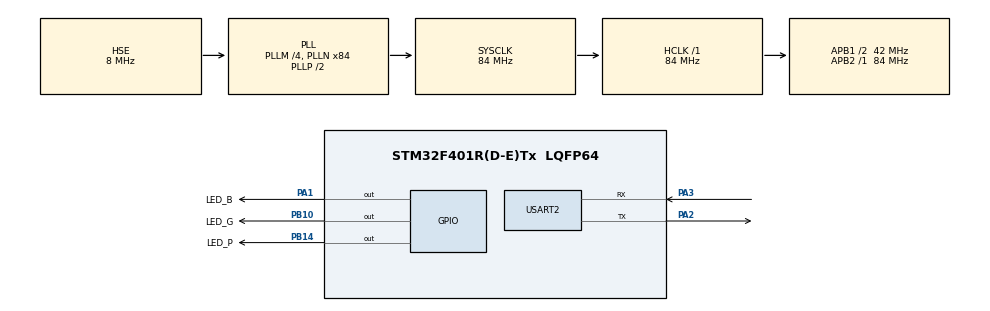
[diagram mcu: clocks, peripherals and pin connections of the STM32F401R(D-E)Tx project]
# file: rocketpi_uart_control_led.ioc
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Mcu.Family=STM32F4
Mcu.Name=STM32F401R(D-E)Tx
Mcu.Package=LQFP64
NVIC.PriorityGroup=NVIC_PRIORITYGROUP_4
PA1.GPIO_Label=LED_B
PA1.PinState=GPIO_PIN_SET
PA1.Signal=GPIO_Output
PA13.Mode=Serial_Wire
PA13.Signal=SYS_JTMS-SWDIO
PA14.Mode=Serial_Wire
PA14.Signal=SYS_JTCK-SWCLK
PA2.Mode=Asynchronous
PA2.Signal=USART2_TX
PA3.Mode=Asynchronous
PA3.Signal=USART2_RX
PB10.GPIO_Label=LED_G
PB10.PinState=GPIO_PIN_SET
PB10.Signal=GPIO_Output
PB14.GPIO_Label=LED_P
PB14.PinState=GPIO_PIN_SET
PB14.Signal=GPIO_Output
PH0\ -\ OSC_IN.Mode=HSE-External-Oscillator
PH0\ -\ OSC_IN.Signal=RCC_OSC_IN
PH1\ -\ OSC_OUT.Mode=HSE-External-Oscillator
PH1\ -\ OSC_OUT.Signal=RCC_OSC_OUT
ProjectManager.HeapSize=0x200
ProjectManager.StackSize=0x400
ProjectManager.TargetToolchain=MDK-ARM V5.27
RCC.48MHZClocksFreq_Value=42000000
RCC.AHBFreq_Value=84000000
RCC.APB1CLKDivider=RCC_HCLK_DIV2
RCC.APB1Freq_Value=42000000
RCC.APB1TimFreq_Value=84000000
RCC.APB2Freq_Value=84000000
RCC.APB2TimFreq_Value=84000000
RCC.CortexFreq_Value=84000000
RCC.HCLKFreq_Value=84000000
RCC.HSE_VALUE=8000000
RCC.HSI_VALUE=16000000
RCC.LSE_VALUE=32768
RCC.PLLM=4
RCC.PLLN=84
RCC.PLLSourceVirtual=RCC_PLLSOURCE_HSE
RCC.SYSCLKFreq_VALUE=84000000
RCC.SYSCLKSource=RCC_SYSCLKSOURCE_PLLCLK
RCC.VCOOutputFreq_Value=168000000
USART2.VirtualMode=VM_ASYNC
board=custom

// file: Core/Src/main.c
/* USER CODE BEGIN Header */
/**
  ******************************************************************************
  * @file           : main.c
  * @brief          : Main program body
  ******************************************************************************
  * @attention
  *
  * Copyright (c) 2025 STMicroelectronics.
  * All rights reserved.
  *
  * This software is licensed under terms that can be found in the LICENSE file
  * in the root directory of this software component.
  * If no LICENSE file comes with this software, it is provided AS-IS.
  *
  ******************************************************************************
  */
/* USER CODE END Header */
#include "main.h"
#include "usart.h"
#include "gpio.h"

/* USER CODE BEGIN Includes */
#include <string.h>
#include <stdbool.h>
#include <ctype.h>
#include <stdio.h>
/* USER CODE END Includes */

/* USER CODE BEGIN PD */
#define UART_RX_BUFFER_SIZE 128U
#define LED_NAME_MAX_LEN    16U
#define LED_TOKEN_COUNT     3U

#define LED_ACTIVE_LOW      1

#if (LED_ACTIVE_LOW == 1)
#define LED_ON_STATE        GPIO_PIN_RESET
#define LED_OFF_STATE       GPIO_PIN_SET
#else
#define LED_ON_STATE        GPIO_PIN_SET
#define LED_OFF_STATE       GPIO_PIN_RESET
#endif
/* USER CODE END PD */

/* USER CODE BEGIN PV */
typedef struct
{
  GPIO_TypeDef *port;
  uint16_t pin;
  const char *tokens[LED_TOKEN_COUNT];
} LedConfig_t;

static const LedConfig_t g_led_config[] =
{
  {LED_B_GPIO_Port, LED_B_Pin, {"B", "BLUE", "LED_B"}},
  {LED_G_GPIO_Port, LED_G_Pin, {"G", "GREEN", "LED_G"}},
  {LED_P_GPIO_Port, LED_P_Pin, {"P", "PINK", "LED_P"}}
};

enum { LED_TOTAL = sizeof(g_led_config) / sizeof(g_led_config[0]) };

typedef struct
{
  uint8_t led_index[LED_TOTAL];
  bool states[LED_TOTAL];
  size_t led_count;
  size_t state_count;
} LedCommand_t;

static char g_rx_buffer[UART_RX_BUFFER_SIZE];
static size_t g_rx_length = 0U;
/* USER CODE END PV */

void SystemClock_Config(void);
/* USER CODE BEGIN PFP */
static void console_send_string(const char *msg);
static void console_send_prompt(void);
static void console_print_examples(void);
static void console_print_gpio_map(void);
static const char *console_skip_spaces(const char *ptr);
static const char *console_find_json_value(const char *json, const char *key);
static bool console_parse_led_targets(const char *json, LedCommand_t *cmd);
static bool console_parse_state_values(const char *json, LedCommand_t *cmd);
static bool console_parse_led_token(const char **cursor, LedCommand_t *cmd);
static bool console_parse_state_token(const char **cursor, LedCommand_t *cmd);
static bool console_add_led_index(LedCommand_t *cmd, uint8_t index);
static uint32_t console_pin_index(uint16_t pin);
static const char *console_port_name(GPIO_TypeDef *port);
static bool console_str_case_equal(const char *lhs, const char *rhs);
static int8_t console_find_led_by_token(const char *token);
static void console_set_led_state(uint8_t index, bool enabled);
static void console_apply_command(const LedCommand_t *cmd);
static void console_report_result(const LedCommand_t *cmd);
static void console_report_error(const char *message);
static void console_handle_input_byte(uint8_t data);
static void console_process_command_buffer(void);
/* USER CODE END PFP */

/* USER CODE BEGIN 0 */
/* 阻塞方式发送字符串到调试串口 */
static void console_send_string(const char *msg)
{
  if (msg == NULL)
  {
    return;
  }
  HAL_UART_Transmit(&huart2, (uint8_t *)msg, strlen(msg), HAL_MAX_DELAY);
}

/* 输出下一条命令的提示符 */
static void console_send_prompt(void)
{
  console_send_string("\r\n> ");
}

/* 打印串口示例命令 */
static void console_print_examples(void)
{
  console_send_string("RocketPi UART LED console ready.\r\n");
  console_send_string("Example commands:\r\n");
  console_send_string("  {\"led\":\"B\",\"state\":1}\r\n");
  console_send_string("  {\"led\":[\"B\",\"G\"],\"state\":[1,0]}\r\n");
}

/* 返回 GPIO 端口的可读名称 */
static const char *console_port_name(GPIO_TypeDef *port)
{
  if (port == GPIOA) return "GPIOA";
  if (port == GPIOB) return "GPIOB";
  if (port == GPIOC) return "GPIOC";
  if (port == GPIOD) return "GPIOD";
  if (port == GPIOE) return "GPIOE";
  if (port == GPIOH) return "GPIOH";
  return "UNKNOWN";
}

/* 将位图形式的引脚值转换成编号 */
static uint32_t console_pin_index(uint16_t pin)
{
  for (uint32_t i = 0U; i < 16U; ++i)
  {
    if (pin == (uint16_t)(1U << i))
    {
      return i;
    }
  }
  return 0xFFFFFFFFU;
}

/* 上电时输出 LED 与 GPIO 的映射信息 */
static void console_print_gpio_map(void)
{
  console_send_string("{\"led_config\":[");
  for (size_t i = 0U; i < LED_TOTAL; ++i)
  {
    char buffer[96];
    const uint32_t pin_index = console_pin_index(g_led_config[i].pin);
    const char *delimiter = (i + 1U < LED_TOTAL) ? "," : "";
    (void)snprintf(buffer, sizeof(buffer),
                   "{\"name\":\"%s\",\"port\":\"%s\",\"pin\":%lu}%s",
                   g_led_config[i].tokens[0],
                   console_port_name(g_led_config[i].port),
                   (unsigned long)((pin_index <= 15U) ? pin_index : g_led_config[i].pin),
                   delimiter);
    console_send_string(buffer);
  }
  console_send_string("]}\r\n");
}

/* 跳过当前字符串指针中的所有空白字符 */
static const char *console_skip_spaces(const char *ptr)
{
  while ((ptr != NULL) && (*ptr != '\0') && isspace((unsigned char)*ptr))
  {
    ++ptr;
  }
  return ptr;
}

/* 在伪 JSON 字符串中定位指定键的值 */
static const char *console_find_json_value(const char *json, const char *key)
{
  if ((json == NULL) || (key == NULL))
  {
    return NULL;
  }
  const char *location = strstr(json, key);
  if (location == NULL)
  {
    return NULL;
  }
  location += strlen(key);
  location = console_skip_spaces(location);
  if (*location != ':')
  {
    return NULL;
  }
  ++location;
  return console_skip_spaces(location);
}

/* 不区分大小写比较两个字符串 */
static bool console_str_case_equal(const char *lhs, const char *rhs)
{
  if ((lhs == NULL) || (rhs == NULL))
  {
    return false;
  }
  while ((*lhs != '\0') && (*rhs != '\0'))
  {
    const int ca = toupper((unsigned char)*lhs);
    const int cb = toupper((unsigned char)*rhs);
    if (ca != cb)
    {
      return false;
    }
    ++lhs;
    ++rhs;
  }
  return (*lhs == '\0') && (*rhs == '\0');
}

/* 根据别名查找 LED 在配置表中的索引 */
static int8_t console_find_led_by_token(const char *token)
{
  if (token == NULL)
  {
    return -1;
  }

  for (size_t i = 0U; i < LED_TOTAL; ++i)
  {
    for (size_t alias = 0U; alias < LED_TOKEN_COUNT; ++alias)
    {
      const char *candidate = g_led_config[i].tokens[alias];
      if ((candidate != NULL) && console_str_case_equal(token, candidate))
      {
        return (int8_t)i;
      }
    }
  }

  return -1;
}

/* 向解析结果中追加一个 LED 索引（避免重复） */
static bool console_add_led_index(LedCommand_t *cmd, uint8_t index)
{
  if (cmd == NULL)
  {
    return false;
  }

  for (size_t i = 0U; i < cmd->led_count; ++i)
  {
    if (cmd->led_index[i] == index)
    {
      return true;
    }
  }

  if (cmd->led_count >= LED_TOTAL)
  {
    return false;
  }

  cmd->led_index[cmd->led_count++] = index;
  return true;
}

/* 解析单个字符串 token 并写入 LED 列表 */
static bool console_parse_led_token(const char **cursor, LedCommand_t *cmd)
{
  if ((cursor == NULL) || (*cursor == NULL) || (cmd == NULL))
  {
    return false;
  }

  const char *ptr = *cursor;
  if (*ptr != '"')
  {
    return false;
  }
  ++ptr;

  const char *start = ptr;
  while ((*ptr != '\0') && (*ptr != '"'))
  {
    ++ptr;
  }
  if (*ptr != '"')
  {
    return false;
  }

  const size_t length = (size_t)(ptr - start);
  if ((length == 0U) || (length >= LED_NAME_MAX_LEN))
  {
    return false;
  }

  char token[LED_NAME_MAX_LEN] = {0};
  memcpy(token, start, length);
  token[length] = '\0';
  ++ptr;

  if (console_str_case_equal(token, "ALL"))
  {
    for (size_t i = 0U; i < LED_TOTAL; ++i)
    {
      if (!console_add_led_index(cmd, (uint8_t)i))
      {
        return false;
      }
    }
    *cursor = ptr;
    return true;
  }

  const int8_t led_index = console_find_led_by_token(token);
  if (led_index < 0)
  {
    return false;
  }

  if (!console_add_led_index(cmd, (uint8_t)led_index))
  {
    return false;
  }

  *cursor = ptr;
  return true;
}

/* 解析 led 字段（支持字符串或数组） */
static bool console_parse_led_targets(const char *json, LedCommand_t *cmd)
{
  if ((json == NULL) || (cmd == NULL))
  {
    return false;
  }

  const char *value = console_find_json_value(json, "\"led\"");
  if (value == NULL)
  {
    value = console_find_json_value(json, "\"LED\"");
  }
  if (value == NULL)
  {
    return false;
  }

  if (*value == '[')
  {
    ++value;
    while (true)
    {
      value = console_skip_spaces(value);
      if (*value == ']')
      {
        ++value;
        break;
      }
      if (!console_parse_led_token(&value, cmd))
      {
        return false;
      }
      value = console_skip_spaces(value);
      if (*value == ',')
      {
        ++value;
        continue;
      }
      if (*value == ']')
      {
        ++value;
        break;
      }
      return false;
    }
  }
  else if (*value == '"')
  {
    if (!console_parse_led_token(&value, cmd))
    {
      return false;
    }
  }
  else
  {
    return false;
  }

  return (cmd->led_count > 0U);
}

/* 解析 state 的单个值，支持数字与文本 */
static bool console_parse_state_token(const char **cursor, LedCommand_t *cmd)
{
  if ((cursor == NULL) || (*cursor == NULL) || (cmd == NULL))
  {
    return false;
  }

  const char *ptr = *cursor;
  bool value = false;
  bool parsed = false;

  if (*ptr == '"')
  {
    ++ptr;
    const char *start = ptr;
    while ((*ptr != '\0') && (*ptr != '"'))
    {
      ++ptr;
    }
    if (*ptr != '"')
    {
      return false;
    }
    const size_t length = (size_t)(ptr - start);
    if ((length == 0U) || (length >= LED_NAME_MAX_LEN))
    {
      return false;
    }
    char token[LED_NAME_MAX_LEN] = {0};
    memcpy(token, start, length);
    token[length] = '\0';
    ++ptr;

    if (console_str_case_equal(token, "on") || console_str_case_equal(token, "true") ||
        console_str_case_equal(token, "enable"))
    {
      value = true;
      parsed = true;
    }
    else if (console_str_case_equal(token, "off") || console_str_case_equal(token, "false") ||
             console_str_case_equal(token, "disable"))
    {
      value = false;
      parsed = true;
    }
  }
  else if (isalpha((unsigned char)*ptr))
  {
    const char *start = ptr;
    while (isalpha((unsigned char)*ptr))
    {
      ++ptr;
    }
    const size_t length = (size_t)(ptr - start);
    if ((length == 0U) || (length >= LED_NAME_MAX_LEN))
    {
      return false;
    }
    char token[LED_NAME_MAX_LEN] = {0};
    memcpy(token, start, length);
    token[length] = '\0';
    if (console_str_case_equal(token, "on") || console_str_case_equal(token, "true"))
    {
      value = true;
      parsed = true;
    }
    else if (console_str_case_equal(token, "off") || console_str_case_equal(token, "false"))
    {
      value = false;
      parsed = true;
    }
  }
  else
  {
    bool negative = false;
    if (*ptr == '-')
    {
      negative = true;
      ++ptr;
    }
    if (!isdigit((unsigned char)*ptr))
    {
      return false;
    }
    uint32_t number = 0U;
    while (isdigit((unsigned char)*ptr))
    {
      number = (number * 10U) + (uint32_t)(*ptr - '0');
      ++ptr;
    }
    value = (!negative) && (number != 0U);
    parsed = true;
  }

  if (!parsed)
  {
    return false;
  }

  if (cmd->state_count >= LED_TOTAL)
  {
    return false;
  }

  cmd->states[cmd->state_count++] = value;
  *cursor = ptr;
  return true;
}

/* 解析 state 字段（单值或数组） */
static bool console_parse_state_values(const char *json, LedCommand_t *cmd)
{
  if ((json == NULL) || (cmd == NULL))
  {
    return false;
  }

  const char *value = console_find_json_value(json, "\"state\"");
  if (value == NULL)
  {
    value = console_find_json_value(json, "\"STATE\"");
  }
  if (value == NULL)
  {
    return false;
  }

  if (*value == '[')
  {
    ++value;
    while (true)
    {
      value = console_skip_spaces(value);
      if (*value == ']')
      {
        ++value;
        break;
      }
      if (!console_parse_state_token(&value, cmd))
      {
        return false;
      }
      value = console_skip_spaces(value);
      if (*value == ',')
      {
        ++value;
        continue;
      }
      if (*value == ']')
      {
        ++value;
        break;
      }
      return false;
    }
  }
  else
  {
    if (!console_parse_state_token(&value, cmd))
    {
      return false;
    }
  }

  return (cmd->state_count > 0U);
}

/* 操作具体 LED 引脚输出状态 */
static void console_set_led_state(uint8_t index, bool enabled)
{
  if (index >= LED_TOTAL)
  {
    return;
  }
  HAL_GPIO_WritePin(g_led_config[index].port,
                    g_led_config[index].pin,
                    enabled ? LED_ON_STATE : LED_OFF_STATE);
}

/* 根据解析结果批量设置 LED */
static void console_apply_command(const LedCommand_t *cmd)
{
  if (cmd == NULL)
  {
    return;
  }

  for (size_t i = 0U; i < cmd->led_count; ++i)
  {
    const size_t state_index = (cmd->state_count == 1U) ? 0U : i;
    const bool desired = cmd->states[state_index];
    console_set_led_state(cmd->led_index[i], desired);
  }
}

/* 输出成功执行后的状态 JSON */
static void console_report_result(const LedCommand_t *cmd)
{
  if (cmd == NULL)
  {
    return;
  }

  char buffer[192];
  int length = snprintf(buffer, sizeof(buffer), "{\"status\":\"ok\",\"led\":[");
  for (size_t i = 0U; i < cmd->led_count; ++i)
  {
    const char *delimiter = (i + 1U < cmd->led_count) ? "," : "";
    length += snprintf(&buffer[length], (size_t)(sizeof(buffer) - (size_t)length),
                       "\"%s\"%s",
                       g_led_config[cmd->led_index[i]].tokens[0],
                       delimiter);
  }
  length += snprintf(&buffer[length], (size_t)(sizeof(buffer) - (size_t)length),
                     "],\"state\":[");
  for (size_t i = 0U; i < cmd->led_count; ++i)
  {
    const size_t state_index = (cmd->state_count == 1U) ? 0U : i;
    const char *delimiter = (i + 1U < cmd->led_count) ? "," : "";
    length += snprintf(&buffer[length], (size_t)(sizeof(buffer) - (size_t)length),
                       "%u%s",
                       cmd->states[state_index] ? 1U : 0U,
                       delimiter);
  }
  (void)snprintf(&buffer[length], (size_t)(sizeof(buffer) - (size_t)length), "]}\r\n");
  console_send_string(buffer);
}

/* 输出错误 JSON 信息 */
static void console_report_error(const char *message)
{
  char buffer[160];
  (void)snprintf(buffer, sizeof(buffer),
                 "{\"status\":\"error\",\"msg\":\"%s\"}\r\n",
                 (message != NULL) ? message : "unknown");
  console_send_string(buffer);
}

/* 处理完整命令字符串并执行 */
static void console_process_command_buffer(void)
{
  g_rx_buffer[g_rx_length] = '\0';
  if (g_rx_length == 0U)
  {
    return;
  }

  LedCommand_t command = {0};
  if (!console_parse_led_targets(g_rx_buffer, &command))
  {
    console_report_error("missing led field");
    return;
  }
  if (!console_parse_state_values(g_rx_buffer, &command))
  {
    console_report_error("missing state field");
    return;
  }
  if (!((command.state_count == 1U) || (command.state_count == command.led_count)))
  {
    console_report_error("state count mismatch");
    return;
  }

  console_apply_command(&command);
  console_report_result(&command);
}

/* 串口逐字节处理函数，负责拼接命令 */
static void console_handle_input_byte(uint8_t data)
{
  if (data == '\r')
  {
    return;
  }
  if (data == '\n')
  {
    console_process_command_buffer();
    g_rx_length = 0U;
    console_send_prompt();
    return;
  }

  if (g_rx_length >= (UART_RX_BUFFER_SIZE - 1U))
  {
    g_rx_length = 0U;
    console_report_error("command too long");
    console_send_prompt();
    return;
  }

  g_rx_buffer[g_rx_length++] = (char)data;
}
/* USER CODE END 0 */

/* 主程序入口：初始化外设并处理串口命令 */
int main(void)
{

  /* MCU Configuration--------------------------------------------------------*/

  /* Reset of all peripherals, Initializes the Flash interface and the Systick. */
  HAL_Init();

  /* Configure the system clock */
  SystemClock_Config();

  /* Initialize all configured peripherals */
  MX_GPIO_Init();
  MX_USART2_UART_Init();
  /* USER CODE BEGIN 2 */
  console_print_examples();
  console_print_gpio_map();
  console_send_prompt();
  /* USER CODE END 2 */

  /* Infinite loop */
  /* USER CODE BEGIN WHILE */
  while (1)
  {
    uint8_t byte = 0U;
    if (HAL_UART_Receive(&huart2, &byte, 1U, HAL_MAX_DELAY) == HAL_OK)
    {
      console_handle_input_byte(byte);
    }
    /* USER CODE END WHILE */

  }
}

/* 配置芯片的时钟树参数 */
void SystemClock_Config(void)
{
  RCC_OscInitTypeDef RCC_OscInitStruct = {0};
  RCC_ClkInitTypeDef RCC_ClkInitStruct = {0};

  /** Configure the main internal regulator output voltage
  */
  __HAL_RCC_PWR_CLK_ENABLE();
  __HAL_PWR_VOLTAGESCALING_CONFIG(PWR_REGULATOR_VOLTAGE_SCALE2);

  /** Initializes the RCC Oscillators according to the specified parameters
  * in the RCC_OscInitTypeDef structure.
  */
  RCC_OscInitStruct.OscillatorType = RCC_OSCILLATORTYPE_HSE;
  RCC_OscInitStruct.HSEState = RCC_HSE_ON;
  RCC_OscInitStruct.PLL.PLLState = RCC_PLL_ON;
  RCC_OscInitStruct.PLL.PLLSource = RCC_PLLSOURCE_HSE;
  RCC_OscInitStruct.PLL.PLLM = 4;
  RCC_OscInitStruct.PLL.PLLN = 84;
  RCC_OscInitStruct.PLL.PLLP = RCC_PLLP_DIV2;
  RCC_OscInitStruct.PLL.PLLQ = 4;
  if (HAL_RCC_OscConfig(&RCC_OscInitStruct) != HAL_OK)
  {
    Error_Handler();
  }

  /** Initializes the CPU, AHB and APB buses clocks
  */
  RCC_ClkInitStruct.ClockType = RCC_CLOCKTYPE_HCLK|RCC_CLOCKTYPE_SYSCLK
                              |RCC_CLOCKTYPE_PCLK1|RCC_CLOCKTYPE_PCLK2;
  RCC_ClkInitStruct.SYSCLKSource = RCC_SYSCLKSOURCE_PLLCLK;
  RCC_ClkInitStruct.AHBCLKDivider = RCC_SYSCLK_DIV1;
  RCC_ClkInitStruct.APB1CLKDivider = RCC_HCLK_DIV2;
  RCC_ClkInitStruct.APB2CLKDivider = RCC_HCLK_DIV1;

  if (HAL_RCC_ClockConfig(&RCC_ClkInitStruct, FLASH_LATENCY_2) != HAL_OK)
  {
    Error_Handler();
  }
}

void Error_Handler(void)
{
  /* USER CODE BEGIN Error_Handler_Debug */
  /* 用户可在此处扩展错误处理逻辑 */
  __disable_irq();
  while (1)
  {
  }
  /* USER CODE END Error_Handler_Debug */
}

#ifdef  USE_FULL_ASSERT
/**
  * @brief  Reports the name of the source file and the source line number
  *         where the assert_param error has occurred.
  * @param  file: pointer to the source file name
  * @param  line: assert_param error line source number
  * @retval None
  */
void assert_failed(uint8_t *file, uint32_t line)
{
  /* USER CODE BEGIN 6 */
  /* 可以在此处打印断言失败的源码文件和行号 */
  /* USER CODE END 6 */
}
#endif /* USE_FULL_ASSERT */
